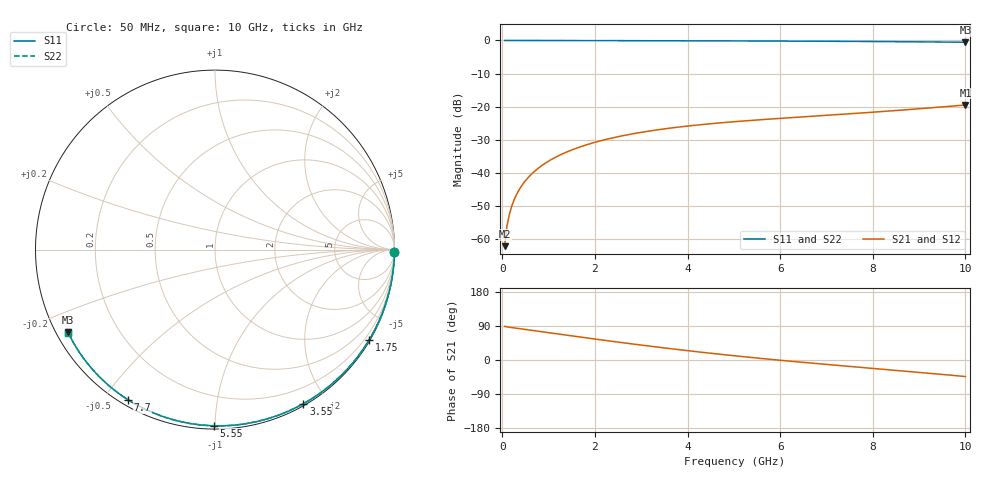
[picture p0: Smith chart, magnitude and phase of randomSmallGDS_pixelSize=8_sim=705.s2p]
! freq	dB(S11)	phase(S11)	dB(S12)	phase(S12)
!  dB(S21)	phase(S21)	dB(S22)	phase(S22)
!S-par simulation data
#  GHz  S  DB  R 50
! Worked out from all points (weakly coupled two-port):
!   200 points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, 50 MHz to 10 GHz, reference 50 ohm
!   highest |S21| = -19.47 dB at 10 GHz (marker M1); lowest = -62.1 dB at 50 MHz (marker M2)
!   lowest |S11| = -0.5 dB at 10 GHz (marker M3), VSWR 32.24, Z = 1.66 - j13.1 ohm
!   |S11| at or under -10 dB: nowhere
!   |S22| runs from -0.5 to 0.0 dB; largest |S21 - S12| = 0
!   S11 on the Smith chart (normalised r, x): 50 MHz: open; 1.75 GHz: 0.03, -3.67; 3.55 GHz: 0.02, -1.73; 5.55 GHz: 0.02, -0.99; 7.7 GHz: 0.02, -0.58; 10 GHz: 0.03, -0.26
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0.05  -0.00 -0.9  -62.06 88.7  -62.06 88.7  -0.00 -0.9
0.1  -0.00 -1.8  -56.08 87.5  -56.08 87.5  -0.00 -1.8
0.15  -0.00 -2.7  -52.61 86.5  -52.61 86.5  -0.00 -2.7
0.2  -0.00 -3.6  -50.15 85.6  -50.15 85.6  -0.00 -3.6
0.25  -0.00 -4.4  -48.25 84.7  -48.25 84.7  -0.00 -4.4
0.35  -0.00 -6.2  -45.37 83.1  -45.37 83.1  -0.00 -6.2
0.5  -0.01 -8.9  -42.31 80.6  -42.31 80.6  -0.01 -8.9
0.7  -0.01 -12.4  -39.43 77.2  -39.43 77.2  -0.01 -12.4
1  -0.02 -17.6  -36.40 72.1  -36.40 72.1  -0.02 -17.6
1.35  -0.03 -23.7  -33.90 66.2  -33.90 66.2  -0.03 -23.6
1.75  -0.04 -30.5  -31.78 59.5  -31.78 59.5  -0.04 -30.5
2.5  -0.06 -43.1  -29.03 47.2  -29.03 47.2  -0.06 -43.1
3.4  -0.08 -57.8  -26.86 33.3  -26.86 33.3  -0.08 -57.8
3.55  -0.09 -60.2  -26.58 31.1  -26.58 31.1  -0.09 -60.1
4.3  -0.11 -71.8  -25.39 20.5  -25.39 20.5  -0.11 -71.8
5.05  -0.14 -83.1  -24.46 10.7  -24.46 10.7  -0.14 -83.1
5.55  -0.16 -90.4  -23.94 4.5  -23.94 4.5  -0.16 -90.4
6.7  -0.22 -106.5  -22.86 -8.5  -22.86 -8.5  -0.22 -106.5
7.7  -0.29 -120.1  -21.94 -18.9  -21.94 -18.9  -0.29 -120.1
8.35  -0.35 -128.7  -21.29 -25.7  -21.29 -25.7  -0.35 -128.7
9.2  -0.44 -139.9  -20.39 -34.7  -20.39 -34.7  -0.44 -139.9
10  -0.54 -150.6  -19.47 -43.7  -19.47 -43.7  -0.54 -150.5
